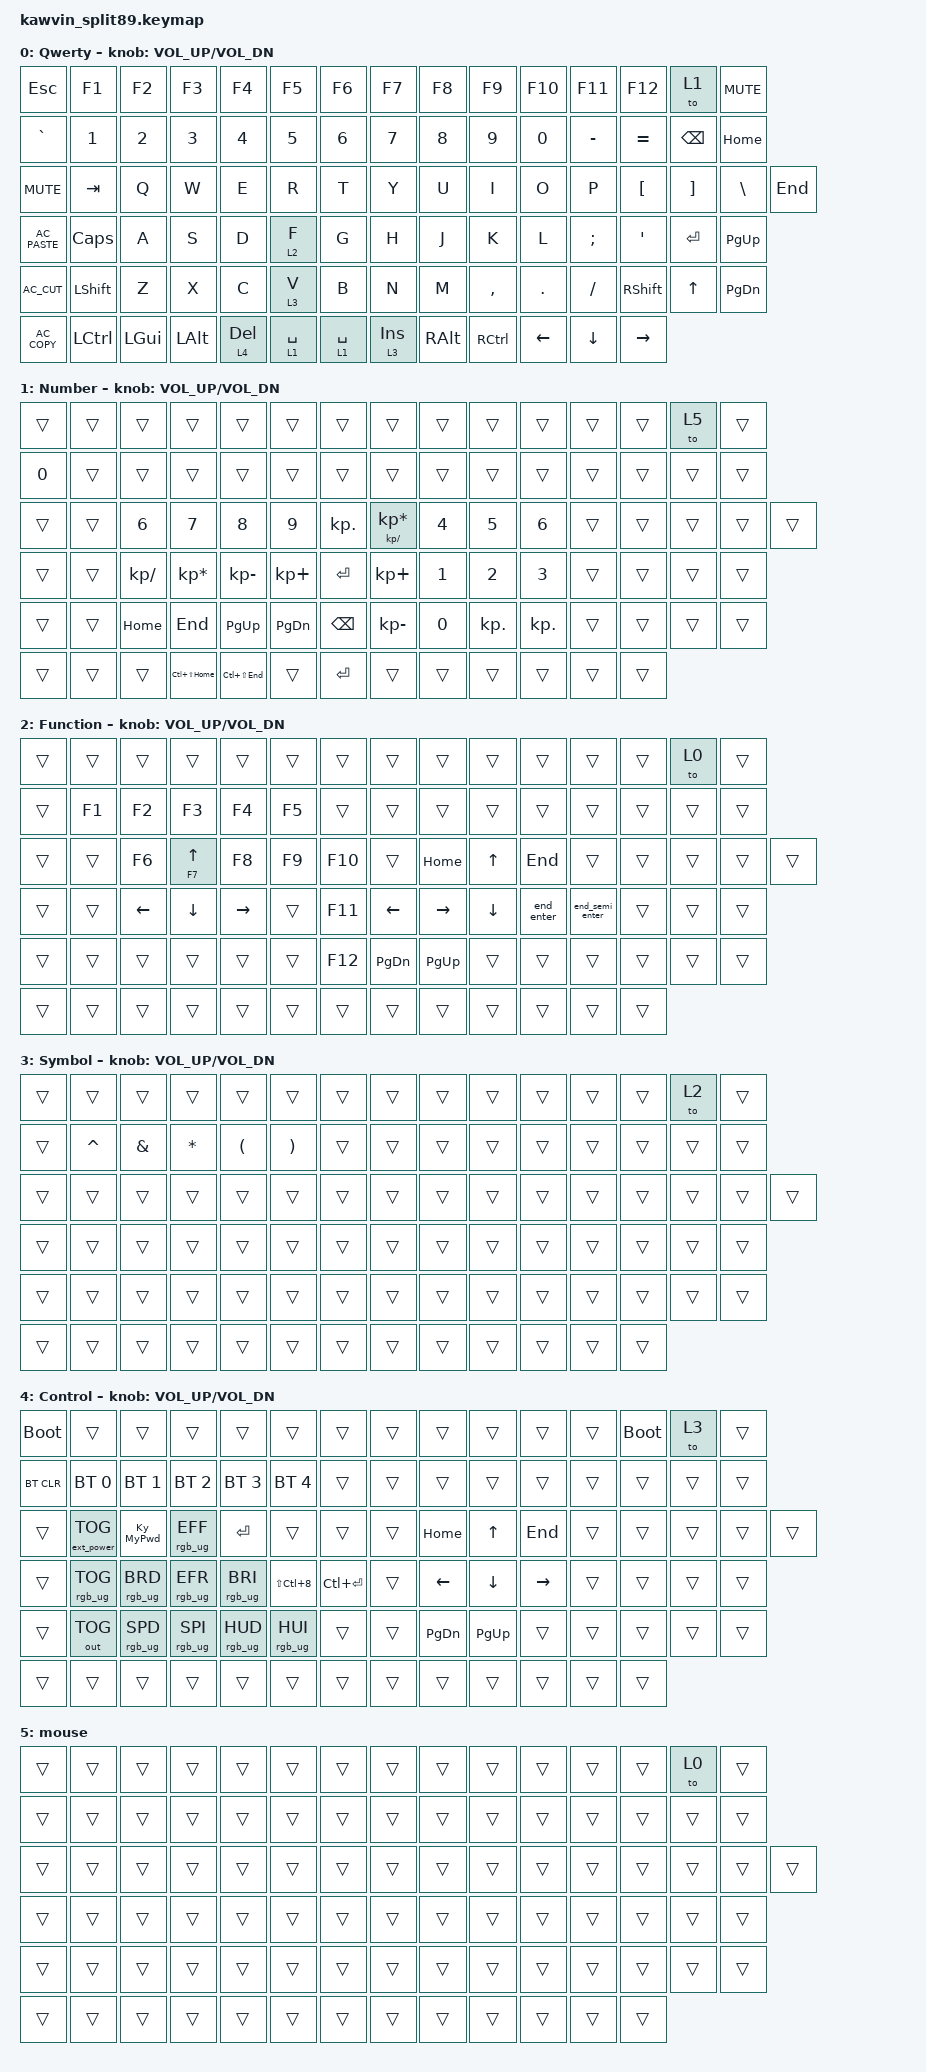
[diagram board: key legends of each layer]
/*
 * Copyright (c) 2023 The ZMK Contributors
 *
 * SPDX-License-Identifier: MIT
 */

#include <behaviors.dtsi>
#include <dt-bindings/zmk/bt.h>
#include <dt-bindings/zmk/ext_power.h>
#include <dt-bindings/zmk/keys.h>
#include <dt-bindings/zmk/outputs.h>
#include <dt-bindings/zmk/rgb.h>

/ {
    macros {
        Ky_MyPwd: Ky_MyPwd {
            label = "Ky_MyPwd";
            compatible = "zmk,behavior-macro";
            #binding-cells = <0>;
            wait-ms = <0>;
            tap-ms = <0>;
            bindings = <&kp N0 &kp N1 &kp N2 &kp N3 &kp N4 &kp N5>;
        };

        layer_1: layer_1 {
            label = "layer 1";
            compatible = "zmk,behavior-macro";
            #binding-cells = <0>;
            wait-ms = <0>;
            tap-ms = <0>;
            bindings =
                <&macro_press>,
                <&ltq 1 SPACE>,
                <&macro_tap>,
                <&rgb_ug RGB_COLOR_HSB(0,100,100)>,
                <&macro_pause_for_release>,
                <&macro_release>,
                <&lt 1 SPACE>,
                <&macro_tap>,
                <&rgb_ug RGB_COLOR_HSB(180,40,70)>;
        };

        layer_2: layer_2 {
            label = "layer 2";
            compatible = "zmk,behavior-macro";
            #binding-cells = <0>;
            wait-ms = <0>;
            tap-ms = <0>;
            bindings =
                <&macro_press>,
                <&ltq 5 DEL>,
                <&macro_tap>,
                <&rgb_ug RGB_COLOR_HSB(120,100,100)>,
                <&macro_pause_for_release>,
                <&macro_release>,
                <&ltq 5 DEL>,
                <&macro_tap>,
                <&rgb_ug RGB_COLOR_HSB(180,40,70)>;
        };

        layer_3: layer_3 {
            label = "layer 3";
            compatible = "zmk,behavior-macro";
            #binding-cells = <0>;
            wait-ms = <0>;
            tap-ms = <0>;
            bindings =
                <&macro_press>,
                <&ltq 3 INS>,
                <&macro_tap>,
                <&rgb_ug RGB_COLOR_HSB(0,100,50)>,
                <&macro_pause_for_release>,
                <&macro_release>,
                <&ltq 3 INS>,
                <&macro_tap>,
                <&rgb_ug RGB_COLOR_HSB(180,40,70)>;
        };

        layer_4: layer_4 {
            label = "layer 4";
            compatible = "zmk,behavior-macro";
            #binding-cells = <0>;
            wait-ms = <0>;
            tap-ms = <0>;
            bindings =
                <&macro_press>,
                <&lt 2 T>,
                <&macro_tap>,
                <&rgb_ug RGB_COLOR_HSB(60,100,100)>,
                <&macro_pause_for_release>,
                <&macro_release>,
                <&lt 2 T>,
                <&macro_tap>,
                <&rgb_ug RGB_COLOR_HSB(180,40,70)>;
        };

        layer_5: layer_5 {
            label = "layer 5";
            compatible = "zmk,behavior-macro";
            #binding-cells = <0>;
            wait-ms = <0>;
            tap-ms = <0>;
            bindings =
                <&macro_press>,
                <&lt 0 T>,
                <&macro_tap>,
                <&rgb_ug RGB_COLOR_HSB(300,100,100)>,
                <&macro_pause_for_release>,
                <&macro_release>,
                <&lt 0 T>,
                <&macro_tap>,
                <&rgb_ug RGB_COLOR_HSB(180,40,70)>;
        };

        layer_6: layer_6 {
            label = "layer 6";
            compatible = "zmk,behavior-macro";
            #binding-cells = <0>;
            wait-ms = <0>;
            tap-ms = <0>;
            bindings =
                <&macro_press>,
                <&lt 0 T>,
                <&macro_tap>,
                <&rgb_ug RGB_COLOR_HSB(180,100,100)>,
                <&macro_pause_for_release>,
                <&macro_release>,
                <&lt 0 T>,
                <&macro_tap>,
                <&rgb_ug RGB_COLOR_HSB(180,40,70)>;
        };

        end_enter: end_enter {
            compatible = "zmk,behavior-macro";
            #binding-cells = <0>;
            bindings = <&kp END &kp ENTER>;
            label = "END_ENTER";
        };

        end_semi_enter: end_semi_enter {
            compatible = "zmk,behavior-macro";
            #binding-cells = <0>;
            bindings = <&kp END &kp SEMI &kp ENTER>;
            label = "END_SEMI_ENTER";
        };
    };

    behaviors {
        hm: homerow_mods {
            compatible = "zmk,behavior-hold-tap";
            #binding-cells = <2>;
            tapping-term-ms = <200>;
            quick-tap-ms = <0>;
            flavor = "tap-preferred";
            bindings = <&kp>, <&kp>;

            label = "HOMEROW_MODS";
        };

        ltq: ltq {
            compatible = "zmk,behavior-hold-tap";
            label = "LTQ";
            bindings = <&mo>, <&kp>;

            #binding-cells = <2>;
            tapping-term-ms = <200>;
            quick-tap-ms = <180>;
        };

        as: auto_shift {
            compatible = "zmk,behavior-hold-tap";
            #binding-cells = <2>;
            tapping-term-ms = <200>;
            quick-tap-ms = <0>;
            label = "AUTO_SHIFT";
            flavor = "tap-preferred";
            bindings = <&kp>, <&kp>;
        };

        rgb_encoder: rgb_encoder {
            compatible = "zmk,behavior-sensor-rotate";
            label = "RGB_ENCODER";
            #sensor-binding-cells = <0>;
            bindings = <&rgb_ug RGB_BRI>, <&rgb_ug RGB_BRD>;
        };
    };

    combos {
        compatible = "zmk,combos";

        esc {
            bindings = <&kp ESCAPE>;
            key-positions = <15 16>;
        };

        bkt_left {
            bindings = <&mt RIGHT_BRACKET LEFT_BRACKET>;
            key-positions = <35 36>;
        };

        bkt_right {
            bindings = <&mt LEFT_BRACKET RIGHT_BRACKET>;
            key-positions = <37 38>;
        };

        par_left {
            bindings = <&mt RIGHT_PARENTHESIS LEFT_PARENTHESIS>;
            key-positions = <18 19>;
        };

        par_right {
            bindings = <&mt LEFT_PARENTHESIS RIGHT_PARENTHESIS>;
            key-positions = <24 25>;
            timeout-ms = <200>;
        };

        brace_left {
            bindings = <&mt RIGHT_BRACE LEFT_BRACE>;
            key-positions = <32 33>;
        };

        brace_right {
            bindings = <&mt LEFT_BRACE RIGHT_BRACE>;
            key-positions = <43 42>;
        };

        bac_pipe {
            bindings = <&mt PIPE BACKSLASH>;
            key-positions = <32 31>;
        };

        minus_under_left {
            bindings = <&mt UNDER MINUS>;
            key-positions = <16 17>;
        };

        comma_dot {
            bindings = <&mt DOT COMMA>;
            key-positions = <65 66>;
        };

        bslh_fslh {
            bindings = <&mt BSLH SLASH>;
            key-positions = <65 64>;
        };

        direction_left {
            bindings = <&kp LEFT_ARROW>;
            key-positions = <50 49>;
        };

        direction_right {
            bindings = <&kp RIGHT>;
            key-positions = <50 51>;
        };

        direction_up {
            bindings = <&kp UP_ARROW>;
            key-positions = <51 33>;
        };

        direction_down {
            bindings = <&kp DOWN>;
            key-positions = <51 49>;
        };

        minus_under_right {
            bindings = <&mt UNDER MINUS>;
            key-positions = <27 26>;
        };

        enter {
            bindings = <&kp ENTER>;
            key-positions = <54 55>;
            timeout-ms = <200>;
        };

        question {
            bindings = <&kp QUESTION>;
            key-positions = <63 64>;
            timeout-ms = <200>;
        };

        vol_mute {
            bindings = <&kp C_MUTE>;
            key-positions = <77 78 79>;
        };

        vol_up {
            bindings = <&kp C_VOL_UP>;
            key-positions = <77 79>;
        };

        volume_down {
            bindings = <&kp C_VOL_DN>;
            key-positions = <77 78>;
        };
    };

    keymap {
        compatible = "zmk,keymap";

        qwerty_layer {
            //  ---------------------------------------------------------------------------------
            //  |      |as GRAVE ESC|F1      |F2      |F3       |F4         |F5  |F6  |    |F7  |F8         |F9       |F10     |F11        |F12         |&to 1|    |C_MUTE|
            //  |      |as ESC GRAVE|N1      |N2      |N3       |N4         |N5  |N6  |    |N7  |N8         |N9       |N0      |MINUS      |A_PLUS EQUAL|BSPC |    |HOME  |
            //  |C_MUTE|TAB         |Q       |W       |E        |R          |T   |    |    |Y   |U          |I        |O       |P          |LBKT        |RBKT |BSLH|END   |
            //  |1     |CAPS        |H_LGUI A|H_LALT S|H_LCTRL D|H_LSHF F   |G   |    |    |H   |H_RSHF J   |H_RCTRL K|H_RALT L|H_RGUI SEMI|SQT         |ENTER|    |PG_UP |
            //  |2     |LSHIFT      |Z       |X       |C        |V          |B   |    |    |N   |M          |COMMA    |DOT     |FSLH       |RSHIFT      |UP   |    |PG_DN |
            //  |3     |LCTRL       |LGUI    |LALT    |&lt 2 DEL|&lt 1 SPACE|    |    |    |    |&lt 1 SPACE|&lt 3 INS|RALT    |RCTRL      |LEFT        |DOWN |    |RIGHT |

            bindings = <
&kp ESCAPE      &kp F1      &kp F2    &kp F3    &kp F4     &kp F5       &kp F6       &kp F7     &kp F8    &kp F9     &kp F10   &kp F11        &kp F12     &to 1      &kp C_MUTE
&kp GRAVE       &kp N1      &kp N2    &kp N3    &kp N4     &kp N5       &kp N6       &kp N7     &kp N8    &kp N9     &kp N0    &kp MINUS      &kp EQUAL   &kp BSPC   &kp HOME
&kp C_MUTE      &kp TAB     &kp Q     &kp W     &kp E      &kp R        &kp T        &kp Y      &kp U     &kp I      &kp O     &kp P          &kp LBKT    &kp RBKT   &kp BSLH    &kp END
&kp C_AC_PASTE  &kp CAPS    &kp A     &kp S     &kp D      &lt 2 F      &kp G        &kp H      &kp J     &kp K      &kp L     &kp SEMICOLON  &kp SQT     &kp ENTER  &kp PG_UP
&kp C_AC_CUT    &kp LSHIFT  &kp Z     &kp X     &kp C      &lt 3 V      &kp B        &kp N      &kp M     &kp COMMA  &kp DOT   &kp FSLH       &kp RSHIFT  &kp UP     &kp PG_DN
&kp C_AC_COPY   &kp LCTRL   &kp LGUI  &kp LALT  &lt 4 DEL  &lt 1 SPACE  &lt 1 SPACE  &lt 3 INS  &kp RALT  &kp RCTRL  &kp LEFT  &kp DOWN       &kp RIGHT
            >;

            label = "Qwerty";
            sensor-bindings = <&inc_dec_kp C_VOL_UP C_VOL_DN>;

            //sensor-bindings = <&inc_dec_kp C_VOL_UP C_VOL_DN &inc_dec_kp PG_UP PG_DN>;
        };

        number_layer {
            //  ---------------------------------------------------------------------------------
            //  |    |    |    |    |    |    |     |    |    |    |     |    |    |    |    |&to 2|    |    |
            //  |    |    |    |    |    |    |     |    |    |7   |8    |9   |    |    |    |     |    |    |
            //  |    |    |N7  |N8  |N9  |N0  |DOT  |    |    |NLCK|4    |5   |6   |    |    |     |    |    |
            //  |    |    |    |    |    |    |ENTER|    |    |PLUS|1    |2   |3   |    |    |     |    |    |
            //  |    |    |    |    |    |    |BSPC |    |    |0   |0    |DOT |DOT |    |    |     |    |    |
            //  |    |    |    |    |    |    |     |    |    |    |ENTER|    |    |    |    |     |    |    |

            bindings = <
&trans  &trans  &trans         &trans            &trans           &trans       &trans      &trans                     &trans  &trans      &trans      &trans  &trans  &to 5   &trans
&kp N0  &trans  &trans         &trans            &trans           &trans       &trans      &trans                     &trans  &trans      &trans      &trans  &trans  &trans  &trans
&trans  &trans  &kp N6         &kp N7            &kp N8           &kp N9       &kp KP_DOT  &mt KP_DIVIDE KP_MULTIPLY  &kp N4  &kp N5      &kp N6      &trans  &trans  &trans  &trans  &trans
&trans  &trans  &kp KP_DIVIDE  &kp KP_MULTIPLY   &kp KP_SUBTRACT  &kp KP_PLUS  &kp ENTER   &kp KP_PLUS                &kp N1  &kp N2      &kp N3      &trans  &trans  &trans  &trans
&trans  &trans  &kp HOME       &kp END           &kp PG_UP        &kp PG_DN    &kp BSPC    &kp KP_MINUS               &kp N0  &kp KP_DOT  &kp KP_DOT  &trans  &trans  &trans  &trans
&trans  &trans  &trans         &kp LC(LS(HOME))  &kp LC(LS(END))  &trans       &kp ENTER   &trans                     &trans  &trans      &trans      &trans  &trans
            >;

            label = "Number";
            sensor-bindings = <&inc_dec_kp C_VOL_UP C_VOL_DN>;

            //sensor-bindings = <&inc_dec_kp C_VOL_UP C_VOL_DN &inc_dec_kp PG_UP PG_DN>;
        };

        function_layer {
            //  ---------------------------------------------------------------------------------
            //  |    |    |    |    |    |    |    |    |    |    |    |    |    |    |    |    |    |    |
            //  |    |    |    |    |    |    |    |    |    |    |    |    |    |    |    |    |    |    |
            //  |    |    |    |    |    |    |    |    |    |    |    |    |    |    |    |    |    |    |
            //  |    |    |    |    |    |    |    |    |    |    |    |    |    |    |    |    |    |    |
            //  |    |    |    |    |    |    |    |    |    |    |    |    |    |    |    |    |    |    |
            //  |    |    |    |    |    |    |    |    |    |    |    |    |    |    |    |    |    |    |

            bindings = <
&trans  &trans  &trans          &trans           &trans           &trans  &trans   &trans          &trans           &trans          &trans      &trans           &trans  &to 0   &trans
&trans  &kp F1  &kp F2          &kp F3           &kp F4           &kp F5  &trans   &trans          &trans           &trans          &trans      &trans           &trans  &trans  &trans
&trans  &trans  &kp F6          &mt F7 UP_ARROW  &kp F8           &kp F9  &kp F10  &trans          &kp HOME         &kp UP_ARROW    &kp END     &trans           &trans  &trans  &trans  &trans
&trans  &trans  &kp LEFT_ARROW  &kp DOWN_ARROW   &kp RIGHT_ARROW  &trans  &kp F11  &kp LEFT_ARROW  &kp RIGHT_ARROW  &kp DOWN_ARROW  &end_enter  &end_semi_enter  &trans  &trans  &trans
&trans  &trans  &trans          &trans           &trans           &trans  &kp F12  &kp PG_DN       &kp PG_UP        &trans          &trans      &trans           &trans  &trans  &trans
&trans  &trans  &trans          &trans           &trans           &trans  &trans   &trans          &trans           &trans          &trans      &trans           &trans
            >;

            label = "Function";
            sensor-bindings = <&inc_dec_kp C_VOL_UP C_VOL_DN>;

            //sensor-bindings = <&inc_dec_kp C_VOL_UP C_VOL_DN &inc_dec_kp PG_UP PG_DN>;
        };

        symbol_layer {
            //  ---------------------------------------------------------------------------------
            //  |    |    |    |    |    |    |    |    |    |    |    |    |    |    |    |    |    |    |
            //  |    |    |    |    |    |    |    |    |    |    |    |    |    |    |    |    |    |    |
            //  |    |    |    |    |    |    |    |    |    |    |    |    |    |    |    |    |    |    |
            //  |    |    |    |    |    |    |    |    |    |    |    |    |    |    |    |    |    |    |
            //  |    |    |    |    |    |    |    |    |    |    |    |    |    |    |    |    |    |    |
            //  |    |    |    |    |    |    |    |    |    |    |    |    |    |    |    |    |    |    |

            bindings = <
&trans  &trans     &trans    &trans    &trans    &trans    &trans  &trans  &trans  &trans  &trans  &trans  &trans  &to 2   &trans
&trans  &kp CARET  &kp AMPS  &kp STAR  &kp LPAR  &kp RPAR  &trans  &trans  &trans  &trans  &trans  &trans  &trans  &trans  &trans
&trans  &trans     &trans    &trans    &trans    &trans    &trans  &trans  &trans  &trans  &trans  &trans  &trans  &trans  &trans  &trans
&trans  &trans     &trans    &trans    &trans    &trans    &trans  &trans  &trans  &trans  &trans  &trans  &trans  &trans  &trans
&trans  &trans     &trans    &trans    &trans    &trans    &trans  &trans  &trans  &trans  &trans  &trans  &trans  &trans  &trans
&trans  &trans     &trans    &trans    &trans    &trans    &trans  &trans  &trans  &trans  &trans  &trans  &trans
            >;

            label = "Symbol";
            sensor-bindings = <&inc_dec_kp C_VOL_UP C_VOL_DN>;

            //sensor-bindings = <&inc_dec_kp C_VOL_UP C_VOL_DN &inc_dec_kp PG_UP PG_DN>;
        };

        control_layer {
            //  ---------------------------------------------------------------------------------
            //  |    |&bootloader|        |        |        |        |        |&soft_off|    |&soft_off|     |     |     |    |&bootloader|&to 0|    |    |
            //  |    |BT_CLR     |BT_SEL 0|BT_SEL 1|BT_SEL 2|BT_SEL 3|BT_SEL 4|RGB_TOG  |    |         |     |     |     |    |           |     |    |    |
            //  |    |EP_TOG     |Ky_MyPwd|RGB_EFF |ENTER   |        |        |         |    |         |HOME |UP   |END  |    |           |     |    |    |
            //  |    |RGB_TOG    |RGB_BRD |RGB_EFR |RGB_BRI |        |        |         |    |         |LEFT |DOWN |RIGHT|    |           |     |    |    |
            //  |    |OUT_TOG    |RGB_SPD |RGB_SPI |RGB_HUD |RGB_HUI |        |         |    |         |PG_DN|PG_UP|     |    |           |     |    |    |
            //  |    |           |        |        |        |        |        |         |    |         |     |     |     |    |           |     |    |    |

            bindings = <
&bootloader  &trans             &trans           &trans           &trans           &trans           &trans         &trans  &trans     &trans     &trans     &trans  &bootloader  &to 3   &trans
&bt BT_CLR   &bt BT_SEL 0       &bt BT_SEL 1     &bt BT_SEL 2     &bt BT_SEL 3     &bt BT_SEL 4     &trans         &trans  &trans     &trans     &trans     &trans  &trans       &trans  &trans
&trans       &ext_power EP_TOG  &Ky_MyPwd        &rgb_ug RGB_EFF  &kp ENTER        &trans           &trans         &trans  &kp HOME   &kp UP     &kp END    &trans  &trans       &trans  &trans  &trans
&trans       &rgb_ug RGB_TOG    &rgb_ug RGB_BRD  &rgb_ug RGB_EFR  &rgb_ug RGB_BRI  &kp LS(LC(N8))   &kp LC(ENTER)  &trans  &kp LEFT   &kp DOWN   &kp RIGHT  &trans  &trans       &trans  &trans
&trans       &out OUT_TOG       &rgb_ug RGB_SPD  &rgb_ug RGB_SPI  &rgb_ug RGB_HUD  &rgb_ug RGB_HUI  &trans         &trans  &kp PG_DN  &kp PG_UP  &trans     &trans  &trans       &trans  &trans
&trans       &trans             &trans           &trans           &trans           &trans           &trans         &trans  &trans     &trans     &trans     &trans  &trans
            >;

            label = "Control";
            sensor-bindings = <&inc_dec_kp C_VOL_UP C_VOL_DN>;

            //sensor-bindings = <&inc_dec_kp C_VOL_UP C_VOL_DN &inc_dec_kp PG_UP PG_DN>;
        };

        mouse_layer {
            bindings = <
&trans  &trans  &trans  &trans  &trans  &trans  &trans  &trans  &trans  &trans  &trans  &trans  &trans  &to 0   &trans
&trans  &trans  &trans  &trans  &trans  &trans  &trans  &trans  &trans  &trans  &trans  &trans  &trans  &trans  &trans
&trans  &trans  &trans  &trans  &trans  &trans  &trans  &trans  &trans  &trans  &trans  &trans  &trans  &trans  &trans  &trans
&trans  &trans  &trans  &trans  &trans  &trans  &trans  &trans  &trans  &trans  &trans  &trans  &trans  &trans  &trans
&trans  &trans  &trans  &trans  &trans  &trans  &trans  &trans  &trans  &trans  &trans  &trans  &trans  &trans  &trans
&trans  &trans  &trans  &trans  &trans  &trans  &trans  &trans  &trans  &trans  &trans  &trans  &trans
            >;

            label = "mouse";
        };
    };
};
